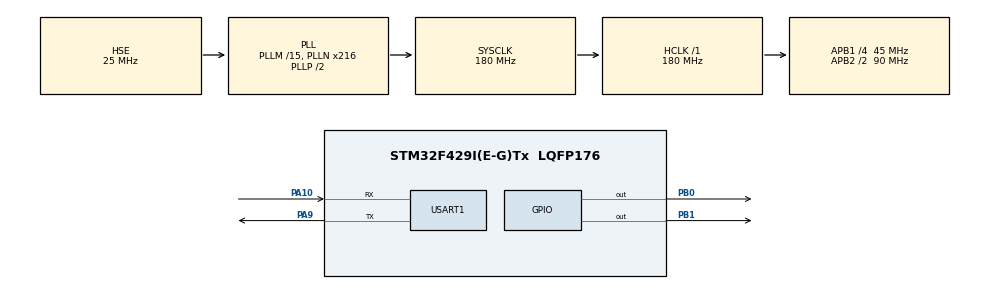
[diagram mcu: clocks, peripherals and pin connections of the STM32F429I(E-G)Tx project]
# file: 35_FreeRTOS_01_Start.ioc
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FREERTOS.Tasks01=Name_Start_Task,0,128,Start_Task,Default,NULL,Dynamic,NULL,NULL;myTask02,-3,128,StartTask02,Default,NULL,Dynamic,NULL,NULL
FREERTOS.configLIBRARY_MAX_SYSCALL_INTERRUPT_PRIORITY=5
FREERTOS.configMAX_PRIORITIES=32
Mcu.Family=STM32F4
Mcu.Name=STM32F429I(E-G)Tx
Mcu.Package=LQFP176
NVIC.PriorityGroup=NVIC_PRIORITYGROUP_4
NVIC.TIM1_UP_TIM10_IRQn=true\:0\:0\:false\:false\:true\:false\:false\:true
NVIC.TimeBase=TIM1_UP_TIM10_IRQn
NVIC.TimeBaseIP=TIM1
PA10.Mode=Asynchronous
PA10.Signal=USART1_RX
PA13.Mode=Trace_Asynchronous_SW
PA13.Signal=SYS_JTMS-SWDIO
PA14.Mode=Trace_Asynchronous_SW
PA14.Signal=SYS_JTCK-SWCLK
PA9.Mode=Asynchronous
PA9.Signal=USART1_TX
PB0.Signal=GPIO_Output
PB1.Signal=GPIO_Output
PB3.Mode=Trace_Asynchronous_SW
PB3.Signal=SYS_JTDO-SWO
PC14/OSC32_IN.Mode=LSE-External-Oscillator
PC14/OSC32_IN.Signal=RCC_OSC32_IN
PC15/OSC32_OUT.Mode=LSE-External-Oscillator
PC15/OSC32_OUT.Signal=RCC_OSC32_OUT
PH0/OSC_IN.Mode=HSE-External-Oscillator
PH0/OSC_IN.Signal=RCC_OSC_IN
PH1/OSC_OUT.Mode=HSE-External-Oscillator
PH1/OSC_OUT.Signal=RCC_OSC_OUT
ProjectManager.HeapSize=0x200
ProjectManager.StackSize=0x400
ProjectManager.TargetToolchain=STM32CubeIDE
RCC.48MHZClocksFreq_Value=90000000
RCC.AHBFreq_Value=180000000
RCC.APB1CLKDivider=RCC_HCLK_DIV4
RCC.APB1Freq_Value=45000000
RCC.APB1TimFreq_Value=90000000
RCC.APB2CLKDivider=RCC_HCLK_DIV2
RCC.APB2Freq_Value=90000000
RCC.APB2TimFreq_Value=180000000
RCC.CortexFreq_Value=180000000
RCC.HCLKFreq_Value=180000000
RCC.HSE_VALUE=25000000
RCC.HSI_VALUE=16000000
RCC.PLLM=15
RCC.PLLN=216
RCC.PLLSourceVirtual=RCC_PLLSOURCE_HSE
RCC.SYSCLKFreq_VALUE=180000000
RCC.SYSCLKSource=RCC_SYSCLKSOURCE_PLLCLK
RCC.VCOOutputFreq_Value=360000000
USART1.VirtualMode=VM_ASYNC
VP_FREERTOS_VS_CMSIS_V1.Mode=CMSIS_V1
VP_SYS_VS_tim1.Mode=TIM1
board=custom

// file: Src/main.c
/* USER CODE BEGIN Header */
/**
 ******************************************************************************
 * @file           : main.c
 * @brief          : Main program body
 ******************************************************************************
 * @attention
 *
 * <h2><center>&copy; Copyright (c) 2019 STMicroelectronics.
 * All rights reserved.</center></h2>
 *
 * This software component is licensed by ST under BSD 3-Clause license,
 * the "License"; You may not use this file except in compliance with the
 * License. You may obtain a copy of the License at:
 *                        opensource.org/licenses/BSD-3-Clause
 *
 ******************************************************************************
 */
/* USER CODE END Header */

#include "main.h"
#include "cmsis_os.h"
#include "usart.h"
#include "gpio.h"

/* USER CODE BEGIN Includes */
#include <stdio.h>
/* USER CODE END Includes */

/* USER CODE BEGIN PTD */
#ifdef __GNUC__
#define PUTCHAR_PROTOTYPE int __io_putchar(int ch)
#else
#define PUTCHAR_PROTOTYPE int fputc(int ch, FILE *f)
#endif
PUTCHAR_PROTOTYPE
{
    while ((USART1->SR & 0X40) == 0);
    USART1->DR = (uint8_t) ch;
    return ch;
}
/* USER CODE END PTD */

void SystemClock_Config(void);
void MX_FREERTOS_Init(void);

int main(void)
{

  /* MCU Configuration--------------------------------------------------------*/

  /* Reset of all peripherals, Initializes the Flash interface and the Systick. */
  HAL_Init();

  /* Configure the system clock */
  SystemClock_Config();

  /* Initialize all configured peripherals */
  MX_GPIO_Init();
  MX_USART1_UART_Init();
  /* USER CODE BEGIN 2 */
    printf ("Start\r\n");
  /* USER CODE END 2 */

  /* Call init function for freertos objects (in freertos.c) */
  MX_FREERTOS_Init();
  /* Start scheduler */
  osKernelStart();

  /* We should never get here as control is now taken by the scheduler */
  /* Infinite loop */
    while (1)
    {

    }
}

void SystemClock_Config(void)
{
  RCC_OscInitTypeDef RCC_OscInitStruct = {0};
  RCC_ClkInitTypeDef RCC_ClkInitStruct = {0};

  /** Configure the main internal regulator output voltage
  */
  __HAL_RCC_PWR_CLK_ENABLE();
  __HAL_PWR_VOLTAGESCALING_CONFIG(PWR_REGULATOR_VOLTAGE_SCALE1);
  /** Initializes the CPU, AHB and APB busses clocks
  */
  RCC_OscInitStruct.OscillatorType = RCC_OSCILLATORTYPE_HSE;
  RCC_OscInitStruct.HSEState = RCC_HSE_ON;
  RCC_OscInitStruct.PLL.PLLState = RCC_PLL_ON;
  RCC_OscInitStruct.PLL.PLLSource = RCC_PLLSOURCE_HSE;
  RCC_OscInitStruct.PLL.PLLM = 15;
  RCC_OscInitStruct.PLL.PLLN = 216;
  RCC_OscInitStruct.PLL.PLLP = RCC_PLLP_DIV2;
  RCC_OscInitStruct.PLL.PLLQ = 4;
  if (HAL_RCC_OscConfig(&RCC_OscInitStruct) != HAL_OK)
  {
    Error_Handler();
  }
  /** Activate the Over-Drive mode
  */
  if (HAL_PWREx_EnableOverDrive() != HAL_OK)
  {
    Error_Handler();
  }
  /** Initializes the CPU, AHB and APB busses clocks
  */
  RCC_ClkInitStruct.ClockType = RCC_CLOCKTYPE_HCLK|RCC_CLOCKTYPE_SYSCLK
                              |RCC_CLOCKTYPE_PCLK1|RCC_CLOCKTYPE_PCLK2;
  RCC_ClkInitStruct.SYSCLKSource = RCC_SYSCLKSOURCE_PLLCLK;
  RCC_ClkInitStruct.AHBCLKDivider = RCC_SYSCLK_DIV1;
  RCC_ClkInitStruct.APB1CLKDivider = RCC_HCLK_DIV4;
  RCC_ClkInitStruct.APB2CLKDivider = RCC_HCLK_DIV2;

  if (HAL_RCC_ClockConfig(&RCC_ClkInitStruct, FLASH_LATENCY_5) != HAL_OK)
  {
    Error_Handler();
  }
}

/* USER CODE BEGIN 4 */

//int _write(int file, char *ptr, int len) {
//	int DataIdx;
//	for (DataIdx = 0; DataIdx < len; DataIdx++) {
//		ITM_SendChar(*ptr++);
//	}
//	return len;
//}
/* USER CODE END 4 */

 /**
  * @brief  Period elapsed callback in non blocking mode
  * @note   This function is called  when TIM1 interrupt took place, inside
  * HAL_TIM_IRQHandler(). It makes a direct call to HAL_IncTick() to increment
  * a global variable "uwTick" used as application time base.
  * @param  htim : TIM handle
  * @retval None
  */
void HAL_TIM_PeriodElapsedCallback(TIM_HandleTypeDef *htim)
{
  if (htim->Instance == TIM1) {
    HAL_IncTick();
  }
  /* USER CODE BEGIN Callback 1 */
    else if (htim->Instance == TIM3)
    {
	printf ("TIM3_output.......\r\n");
    }
    else if (htim->Instance == TIM5)
    {
	printf ("TIM5_output.......\r\n");
    }
  /* USER CODE END Callback 1 */
}

void Error_Handler(void)
{
}

/************************ (C) COPYRIGHT STMicroelectronics *****END OF FILE****/

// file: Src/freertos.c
/* USER CODE BEGIN Header */
/**
 ******************************************************************************
 * File Name          : freertos.c
 * Description        : Code for freertos applications
 ******************************************************************************
 * @attention
 *
 * <h2><center>&copy; Copyright (c) 2020 STMicroelectronics.
 * All rights reserved.</center></h2>
 *
 * This software component is licensed by ST under Ultimate Liberty license
 * SLA0044, the "License"; You may not use this file except in compliance with
 * the License. You may obtain a copy of the License at:
 *                             www.st.com/SLA0044
 *
 ******************************************************************************
 */
/* USER CODE END Header */

#include "FreeRTOS.h"
#include "task.h"
#include "main.h"
#include "cmsis_os.h"

/* USER CODE BEGIN PD */
//定义�?个测试用的列表和3个列表项
List_t TestList;		//测试用列�?
ListItem_t ListItem1;	//测试用列表项1
ListItem_t ListItem2;	//测试用列表项2
ListItem_t ListItem3;	//测试用列表项3
/* USER CODE END PD */

osThreadId Name_Start_TaskHandle;
osThreadId myTask02Handle;

void Start_Task(void const * argument);
void StartTask02(void const * argument);

void MX_FREERTOS_Init(void); /* (MISRA C 2004 rule 8.1) */

/* GetIdleTaskMemory prototype (linked to static allocation support) */
void vApplicationGetIdleTaskMemory( StaticTask_t **ppxIdleTaskTCBBuffer, StackType_t **ppxIdleTaskStackBuffer, uint32_t *pulIdleTaskStackSize );

/* USER CODE BEGIN GET_IDLE_TASK_MEMORY */
static StaticTask_t xIdleTaskTCBBuffer;
static StackType_t xIdleStack[configMINIMAL_STACK_SIZE];

void vApplicationGetIdleTaskMemory (StaticTask_t**ppxIdleTaskTCBBuffer,StackType_t**ppxIdleTaskStackBuffer,uint32_t*pulIdleTaskStackSize)
{
    *ppxIdleTaskTCBBuffer = &xIdleTaskTCBBuffer;
    *ppxIdleTaskStackBuffer = &xIdleStack[0];
    *pulIdleTaskStackSize = configMINIMAL_STACK_SIZE;
    /* place for user code */
}
/* USER CODE END GET_IDLE_TASK_MEMORY */

void MX_FREERTOS_Init(void) {

  /* Create the thread(s) */
  /* definition and creation of Name_Start_Task */
  osThreadDef(Name_Start_Task, Start_Task, osPriorityNormal, 0, 128);
  Name_Start_TaskHandle = osThreadCreate(osThread(Name_Start_Task), NULL);

  /* definition and creation of myTask02 */
  osThreadDef(myTask02, StartTask02, osPriorityIdle, 0, 128);
  myTask02Handle = osThreadCreate(osThread(myTask02), NULL);

}

void Start_Task(void const * argument)
{
  /* USER CODE BEGIN Start_Task */
    for (;;)
    {
	HAL_GPIO_TogglePin (GPIOB, GPIO_PIN_0);

	osDelay (100);
    }
  /* USER CODE END Start_Task */
}

void StartTask02(void const * argument)
{
  /* USER CODE BEGIN StartTask02 */
    vListInitialise (&TestList);
    vListInitialiseItem (&ListItem1);
    vListInitialiseItem (&ListItem2);
    vListInitialiseItem (&ListItem3);

    ListItem1.xItemValue = 40;			//ListItem1列表项�?�为40
    ListItem2.xItemValue = 60;			//ListItem2列表项�?�为60
    ListItem3.xItemValue = 50;			//ListItem3列表项�?�为50

    printf ("/*******************列表和列表项地址*******************/\r\n");
    printf ("项目                              地址				    \r\n");
    printf ("TestList                          %#x					\r\n", (int) &TestList);
    printf ("TestList->pxIndex                 %#x					\r\n", (int) TestList.pxIndex);
    printf ("TestList->xListEnd                %#x					\r\n", (int) (&TestList.xListEnd));
    printf ("ListItem1                         %#x					\r\n", (int) &ListItem1);
    printf ("ListItem2                         %#x					\r\n", (int) &ListItem2);
    printf ("ListItem3                         %#x					\r\n", (int) &ListItem3);
    printf ("/************************结束**************************/\r\n");

    vListInsert(&TestList,&ListItem1);		//插入列表项ListItem1
    printf("/******************添加列表项ListItem1*****************/\r\n");
    printf("项目                              地址				    \r\n");
    printf("TestList->xListEnd->pxNext        %#x					\r\n",(int)(TestList.xListEnd.pxNext));
    printf("ListItem1->pxNext                 %#x					\r\n",(int)(ListItem1.pxNext));
    printf("/*******************前后向连接分割线********************/\r\n");
    printf("TestList->xListEnd->pxPrevious    %#x					\r\n",(int)(TestList.xListEnd.pxPrevious));
    printf("ListItem1->pxPrevious             %#x					\r\n",(int)(ListItem1.pxPrevious));
    printf("/************************结束**************************/\r\n");

    vListInsert(&TestList,&ListItem2);	//插入列表项ListItem2
    printf("/******************添加列表项ListItem2*****************/\r\n");
    printf("项目                              地址				    \r\n");
    printf("TestList->xListEnd->pxNext        %#x					\r\n",(int)(TestList.xListEnd.pxNext));
    printf("ListItem1->pxNext                 %#x					\r\n",(int)(ListItem1.pxNext));
    printf("ListItem2->pxNext                 %#x					\r\n",(int)(ListItem2.pxNext));
    printf("/*******************前后向连接分割线********************/\r\n");
    printf("TestList->xListEnd->pxPrevious    %#x					\r\n",(int)(TestList.xListEnd.pxPrevious));
    printf("ListItem1->pxPrevious             %#x					\r\n",(int)(ListItem1.pxPrevious));
    printf("ListItem2->pxPrevious             %#x					\r\n",(int)(ListItem2.pxPrevious));
    printf("/************************结束**************************/\r\n");

    vListInsert(&TestList,&ListItem3);	//插入列表项ListItem3
    printf("/******************添加列表项ListItem3*****************/\r\n");
    printf("项目                              地址				    \r\n");
    printf("TestList->xListEnd->pxNext        %#x					\r\n",(int)(TestList.xListEnd.pxNext));
    printf("ListItem1->pxNext                 %#x					\r\n",(int)(ListItem1.pxNext));
    printf("ListItem3->pxNext                 %#x					\r\n",(int)(ListItem3.pxNext));
    printf("ListItem2->pxNext                 %#x					\r\n",(int)(ListItem2.pxNext));
    printf("/*******************前后向连接分割线********************/\r\n");
    printf("TestList->xListEnd->pxPrevious    %#x					\r\n",(int)(TestList.xListEnd.pxPrevious));
    printf("ListItem1->pxPrevious             %#x					\r\n",(int)(ListItem1.pxPrevious));
    printf("ListItem3->pxPrevious             %#x					\r\n",(int)(ListItem3.pxPrevious));
    printf("ListItem2->pxPrevious             %#x					\r\n",(int)(ListItem2.pxPrevious));
    printf("/************************结束**************************/\r\n");

    uxListRemove(&ListItem2);						//删除ListItem2
    printf("/******************删除列表项ListItem2*****************/\r\n");
    printf("项目                              地址				    \r\n");
    printf("TestList->xListEnd->pxNext        %#x					\r\n",(int)(TestList.xListEnd.pxNext));
    printf("ListItem1->pxNext                 %#x					\r\n",(int)(ListItem1.pxNext));
    printf("ListItem3->pxNext                 %#x					\r\n",(int)(ListItem3.pxNext));
    printf("/*******************前后向连接分割线********************/\r\n");
    printf("TestList->xListEnd->pxPrevious    %#x					\r\n",(int)(TestList.xListEnd.pxPrevious));
    printf("ListItem1->pxPrevious             %#x					\r\n",(int)(ListItem1.pxPrevious));
    printf("ListItem3->pxPrevious             %#x					\r\n",(int)(ListItem3.pxPrevious));
    printf("/************************结束**************************/\r\n");

    TestList.pxIndex=TestList.pxIndex->pxNext;			//pxIndex向后移一项，这样pxIndex就会指向ListItem1�?
    vListInsertEnd(&TestList,&ListItem2);				//列表末尾添加列表项ListItem2
    printf("/***************在末尾添加列表项ListItem2***************/\r\n");
    printf("项目                              地址				    \r\n");
    printf("TestList->pxIndex                 %#x					\r\n",(int)TestList.pxIndex);
    printf("TestList->xListEnd->pxNext        %#x					\r\n",(int)(TestList.xListEnd.pxNext));
    printf("ListItem2->pxNext                 %#x					\r\n",(int)(ListItem2.pxNext));
    printf("ListItem1->pxNext                 %#x					\r\n",(int)(ListItem1.pxNext));
    printf("ListItem3->pxNext                 %#x					\r\n",(int)(ListItem3.pxNext));
    printf("/*******************前后向连接分割线********************/\r\n");
    printf("TestList->xListEnd->pxPrevious    %#x					\r\n",(int)(TestList.xListEnd.pxPrevious));
    printf("ListItem2->pxPrevious             %#x					\r\n",(int)(ListItem2.pxPrevious));
    printf("ListItem1->pxPrevious             %#x					\r\n",(int)(ListItem1.pxPrevious));
    printf("ListItem3->pxPrevious             %#x					\r\n",(int)(ListItem3.pxPrevious));
    printf("/************************结束**************************/\r\n\r\n\r\n");
    while(1);
  /* USER CODE END StartTask02 */
}

/************************ (C) COPYRIGHT STMicroelectronics *****END OF FILE****/
